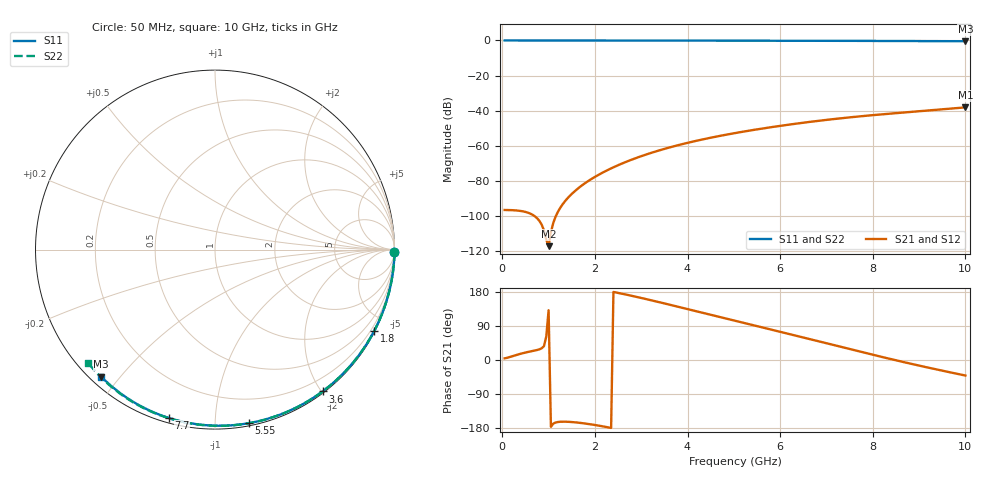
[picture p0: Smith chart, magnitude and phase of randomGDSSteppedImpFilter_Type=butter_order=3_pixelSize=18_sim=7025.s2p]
! freq	dB(S11)	phase(S11)	dB(S12)	phase(S12)
!  dB(S21)	phase(S21)	dB(S22)	phase(S22)
!S-par simulation data
#  GHz  S  DB  R 50
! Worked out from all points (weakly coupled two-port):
!   200 points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, 50 MHz to 10 GHz, reference 50 ohm
!   highest |S21| = -38.10 dB at 10 GHz (marker M1); lowest = -117.2 dB at 1 GHz (marker M2)
!   lowest |S11| = -0.4 dB at 10 GHz (marker M3), VSWR 39.24, Z = 1.53 - j22.3 ohm
!   |S11| at or under -10 dB: nowhere
!   |S22| runs from -0.5 to 0.0 dB; largest |S21 - S12| = 0
!   S11 on the Smith chart (normalised r, x): 50 MHz: open; 1.8 GHz: 0.04, -4.16; 3.6 GHz: 0.02, -2.01; 5.55 GHz: 0.02, -1.21; 7.7 GHz: 0.02, -0.76; 10 GHz: 0.03, -0.45
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0.05  -0.00 -0.8  -96.62 4.4  -96.62 4.4  -0.00 -0.8
0.5  -0.01 -7.6  -97.73 19.7  -97.73 19.7  -0.01 -8.0
1  -0.02 -15.1  -117.24 131.4  -117.24 131.4  -0.02 -15.9
1.75  -0.03 -26.3  -82.03 -167.0  -82.03 -167.0  -0.04 -27.5
1.8  -0.03 -27.0  -81.09 -167.8  -81.09 -167.8  -0.04 -28.3
1.85  -0.04 -27.8  -80.21 -168.7  -80.21 -168.7  -0.04 -29.1
2.25  -0.04 -33.6  -74.18 -176.9  -74.18 -176.9  -0.05 -35.2
2.45  -0.05 -36.5  -71.68 178.3  -71.68 178.3  -0.05 -38.2
2.65  -0.05 -39.4  -69.42 173.2  -69.42 173.2  -0.05 -41.3
3  -0.06 -44.4  -65.95 163.8  -65.95 163.8  -0.06 -46.5
3.4  -0.07 -50.0  -62.56 152.3  -62.56 152.3  -0.07 -52.4
3.6  -0.07 -52.8  -61.06 146.4  -61.06 146.4  -0.07 -55.3
3.9  -0.08 -57.0  -58.99 137.4  -58.99 137.4  -0.08 -59.6
4.3  -0.09 -62.4  -56.54 125.3  -56.54 125.3  -0.09 -65.3
5.05  -0.11 -72.4  -52.67 102.8  -52.67 102.8  -0.12 -75.8
5.55  -0.13 -78.9  -50.47 87.9  -50.47 87.9  -0.14 -82.5
6.1  -0.15 -85.9  -48.30 71.5  -48.30 71.5  -0.16 -89.8
6.7  -0.18 -93.3  -46.21 53.3  -46.21 53.3  -0.19 -97.6
7.7  -0.24 -105.4  -43.31 22.9  -43.31 22.9  -0.25 -110.2
8.35  -0.29 -113.0  -41.77 3.6  -41.77 3.6  -0.31 -118.1
9.2  -0.37 -122.8  -39.96 -20.2  -39.96 -20.2  -0.38 -128.4
10  -0.44 -131.8  -38.10 -41.0  -38.10 -41.0  -0.47 -138.1
